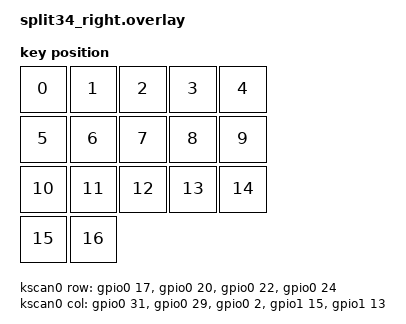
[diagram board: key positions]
#include "split34.dtsi"

/ {
    chosen {
        zmk,kscan = &kscan0;
        zmk,physical-layout = &right_layout;
    };

    right_layout: physical_layout_0 {
        compatible = "zmk,physical-layout";
        display-name = "Gdrik34 Right";
        transform = <&default_transform>;
        kscan = <&kscan0>;

        keys
            = <&key_physical_attrs 100 100  600    0     0   0   0>
            , <&key_physical_attrs 100 100  700    0     0   0   0>
            , <&key_physical_attrs 100 100  800    0     0   0   0>
            , <&key_physical_attrs 100 100  900    0     0   0   0>
            , <&key_physical_attrs 100 100 1000    0     0   0   0>
            , <&key_physical_attrs 100 100  600  100     0   0   0>
            , <&key_physical_attrs 100 100  700  100     0   0   0>
            , <&key_physical_attrs 100 100  800  100     0   0   0>
            , <&key_physical_attrs 100 100  900  100     0   0   0>
            , <&key_physical_attrs 100 100 1000  100     0   0   0>
            , <&key_physical_attrs 100 100  600  200     0   0   0>
            , <&key_physical_attrs 100 100  700  200     0   0   0>
            , <&key_physical_attrs 100 100  800  200     0   0   0>
            , <&key_physical_attrs 100 100  900  200     0   0   0>
            , <&key_physical_attrs 100 100 1000  200     0   0   0>
            , <&key_physical_attrs 100 100  600  300     0   0   0>
            , <&key_physical_attrs 100 100  700  300     0   0   0>
            ;
    };

    kscan0: kscan_0 {
        compatible = "zmk,kscan-gpio-matrix";
        label = "KSCAN";
        diode-direction = "col2row";

        row-gpios
            = <&gpio0 17 (GPIO_ACTIVE_HIGH | GPIO_PULL_DOWN)>
            , <&gpio0 20 (GPIO_ACTIVE_HIGH | GPIO_PULL_DOWN)>
            , <&gpio0 22 (GPIO_ACTIVE_HIGH | GPIO_PULL_DOWN)>
            , <&gpio0 24 (GPIO_ACTIVE_HIGH | GPIO_PULL_DOWN)>
            ;

        col-gpios
            = <&gpio0 31 GPIO_ACTIVE_HIGH>
            , <&gpio0 29 GPIO_ACTIVE_HIGH>
            , <&gpio0 2 GPIO_ACTIVE_HIGH>
            , <&gpio1 15 GPIO_ACTIVE_HIGH>
            , <&gpio1 13 GPIO_ACTIVE_HIGH>
            ;
    };
};

&default_transform {
    col-offset = <5>;
};
